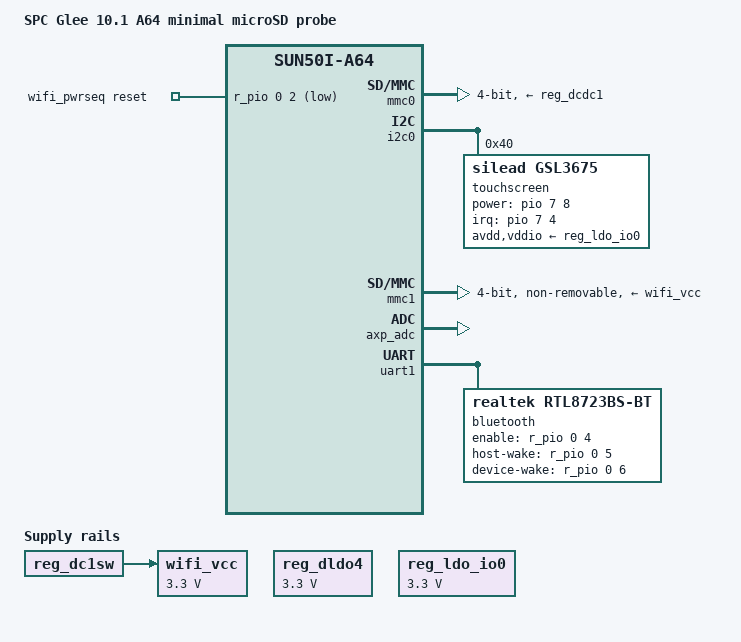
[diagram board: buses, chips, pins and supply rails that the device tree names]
// SPDX-License-Identifier: (GPL-2.0+ OR MIT)

#include "sun50i-a64-spc-glee-display-stage2.dts"

/ {
	model = "SPC Glee 10.1 A64 minimal microSD probe";

	wifi_pwrseq: wifi-pwrseq {
		compatible = "mmc-pwrseq-simple";
		reset-gpios = <&r_pio 0 2 GPIO_ACTIVE_LOW>; /* PL2 */
		post-power-on-delay-ms = <200>;
	};

	wifi_vcc: wifi-vcc {
		compatible = "regulator-fixed";
		regulator-name = "vcc-wifi-8089-fixed";
		regulator-min-microvolt = <3300000>;
		regulator-max-microvolt = <3300000>;
		vin-supply = <&reg_dc1sw>;
	};

	chosen {
		bootargs = "console=ttyS0,115200 earlycon=uart8250,mmio32,0x01c28000 rdinit=/init loglevel=8 ignore_loglevel regulator_ignore_unused panic=-1";
	};
};

&mmc0 {
	pinctrl-names = "default";
	pinctrl-0 = <&mmc0_pins>;
	vmmc-supply = <&reg_dcdc1>;
	vqmmc-supply = <&reg_dcdc1>;
	broken-cd;
	bus-width = <4>;
	max-frequency = <25000000>;
	status = "okay";
};

&i2c0 {
	status = "okay";

	touchscreen@40 {
		compatible = "silead,gsl3675";
		reg = <0x40>;
		interrupt-parent = <&pio>;
		interrupts = <7 4 IRQ_TYPE_LEVEL_HIGH>; /* PH4 */
		power-gpios = <&pio 7 8 GPIO_ACTIVE_HIGH>; /* PH8 */
		firmware-name = "spc-glee-a102.fw";
		touchscreen-size-x = <1728>;
		touchscreen-size-y = <1080>;
		touchscreen-inverted-x;
		silead,max-fingers = <5>;
		avdd-supply = <&reg_ldo_io0>;
		vddio-supply = <&reg_ldo_io0>;
	};
};

&mmc1 {
	pinctrl-names = "default";
	pinctrl-0 = <&mmc1_pins>;
	vmmc-supply = <&wifi_vcc>;
	vqmmc-supply = <&reg_dldo4>;
	mmc-pwrseq = <&wifi_pwrseq>;
	bus-width = <4>;
	max-frequency = <50000000>;
	non-removable;
	cap-sdio-irq;
	keep-power-in-suspend;
	status = "okay";
};

&mmc2 {
	status = "disabled";
};

&axp_adc {
	status = "okay";
};

&battery_power_supply {
	status = "okay";
};

&pio {
	vcc-pg-supply = <&reg_dldo4>;
};

&reg_dc1sw {
	regulator-name = "vcc-wifi-8089";
};

&reg_dldo4 {
	regulator-min-microvolt = <3300000>;
	regulator-max-microvolt = <3300000>;
	regulator-name = "vcc-wifi-io";
};

&reg_ldo_io0 {
	regulator-min-microvolt = <3300000>;
	regulator-max-microvolt = <3300000>;
	regulator-name = "vcc-ctp";
	status = "okay";
};

&uart1 {
	pinctrl-names = "default";
	pinctrl-0 = <&uart1_pins>, <&uart1_rts_cts_pins>;
	uart-has-rtscts;
	status = "okay";

	bluetooth {
		compatible = "realtek,rtl8723bs-bt";
		enable-gpios = <&r_pio 0 4 GPIO_ACTIVE_HIGH>; /* PL4 */
		host-wake-gpios = <&r_pio 0 5 GPIO_ACTIVE_HIGH>; /* PL5 */
		device-wake-gpios = <&r_pio 0 6 GPIO_ACTIVE_HIGH>; /* PL6 */
		max-speed = <1500000>;
	};
};
